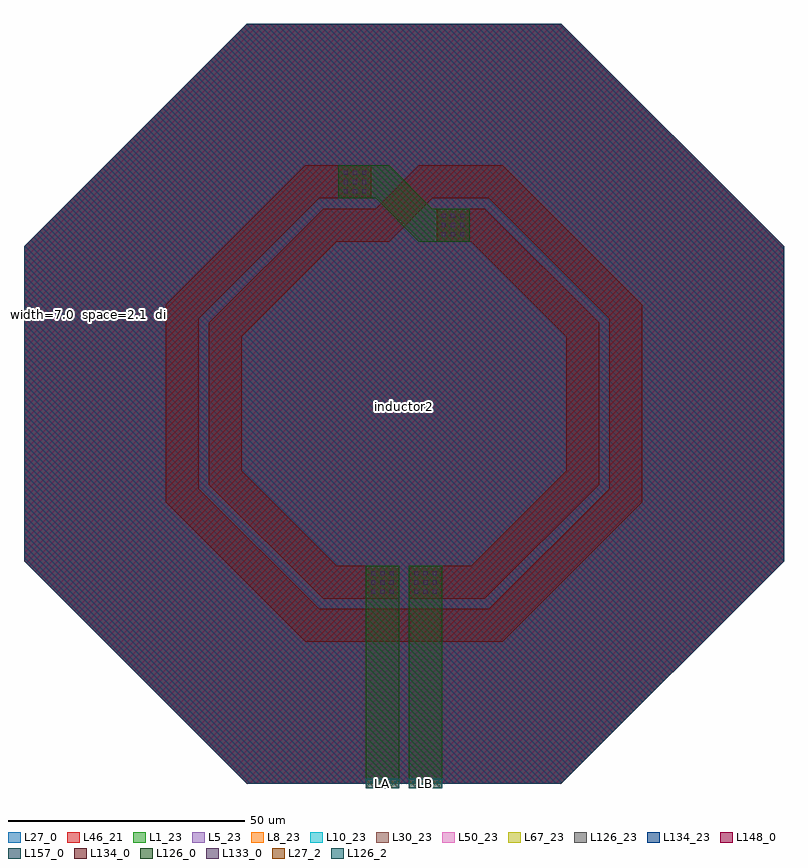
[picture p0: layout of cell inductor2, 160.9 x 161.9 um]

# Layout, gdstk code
import gdstk
lib = gdstk.Library(unit=1e-6, precision=1e-09)
def R(c, l, rs):  # rectangles x0, y0, x1, y1
    for r in rs: c.add(gdstk.rectangle(r[:2], r[2:], *l))
def A(c, l, x, y, w, h, nx, ny, dx, dy):  # array of equal rectangles
    R(c, l, [(x+i*dx, y+j*dy, x+i*dx+w, y+j*dy+h) for i in range(nx) for j in range(ny)])
def P(c, l, *ps):  # polygons
    for p in ps: c.add(gdstk.Polygon(p, *l))
L1_23 = (1, 23)
L5_23 = (5, 23)
L8_23 = (8, 23)
L10_23 = (10, 23)
L27_0 = (27, 0)
L27_2 = (27, 2)
L30_23 = (30, 23)
L46_21 = (46, 21)
L50_23 = (50, 23)
L67_23 = (67, 23)
L126_0 = (126, 0)
L126_2 = (126, 2)
L126_23 = (126, 23)
L133_0 = (133, 0)
L134_0 = (134, 0)
L134_23 = (134, 23)
L148_0 = (148, 0)
L157_0 = (157, 0)

inductor2 = lib.new_cell('inductor2')
P(inductor2, L1_23, [(-33.32,0),(-80.45,47.13),(-80.45,113.77),(-33.32,160.9),(33.32,160.9),(80.45,113.77),(80.45,47.13),(33.32,0)])
P(inductor2, L5_23, [(-33.32,0),(-80.45,47.13),(-80.45,113.77),(-33.32,160.9),(33.32,160.9),(80.45,113.77),(80.45,47.13),(33.32,0)])
P(inductor2, L8_23, [(-33.32,0),(-80.45,47.13),(-80.45,113.77),(-33.32,160.9),(33.32,160.9),(80.45,113.77),(80.45,47.13),(33.32,0)])
P(inductor2, L10_23, [(-33.32,0),(-80.45,47.13),(-80.45,113.77),(-33.32,160.9),(33.32,160.9),(80.45,113.77),(80.45,47.13),(33.32,0)])
P(inductor2, L27_0, [(-33.32,0),(-80.45,47.13),(-80.45,113.77),(-33.32,160.9),(33.32,160.9),(80.45,113.77),(80.45,47.13),(33.32,0)])
R(inductor2, L27_2, [(-8.05,-1,-1.05,1), (1.05,-1,8.05,1)])
P(inductor2, L30_23, [(-33.32,0),(-80.45,47.13),(-80.45,113.77),(-33.32,160.9),(33.32,160.9),(80.45,113.77),(80.45,47.13),(33.32,0)])
P(inductor2, L46_21, [(-33.32,0),(-80.45,47.13),(-80.45,113.77),(-33.32,160.9),(33.32,160.9),(80.45,113.77),(80.45,47.13),(33.32,0)])
P(inductor2, L50_23, [(-33.32,0),(-80.45,47.13),(-80.45,113.77),(-33.32,160.9),(33.32,160.9),(80.45,113.77),(80.45,47.13),(33.32,0)])
P(inductor2, L67_23, [(-33.32,0),(-80.45,47.13),(-80.45,113.77),(-33.32,160.9),(33.32,160.9),(80.45,113.77),(80.45,47.13),(33.32,0)])
P(inductor2, L126_0, [(3.125,114.76),(-5.995,123.88),(-13.885,123.88),(-13.885,130.88),(-3.125,130.88),(5.995,121.76),(13.885,121.76),(13.885,114.76)])
R(inductor2, L126_2, [(-8.05,-1,-1.05,1), (1.05,-1,8.05,1)])
P(inductor2, L126_23, [(-33.32,0),(-80.45,47.13),(-80.45,113.77),(-33.32,160.9),(33.32,160.9),(80.45,113.77),(80.45,47.13),(33.32,0)])
A(inductor2, L133_0, -6.96, 40.19, 0.9, 0.9, 3, 3, 1.96, 1.96)
A(inductor2, L133_0, 2.14, 40.19, 0.9, 0.9, 3, 3, 1.96, 1.96)
A(inductor2, L133_0, 7.975, 115.85, 0.9, 0.9, 3, 3, 1.96, 1.96)
A(inductor2, L133_0, -12.795, 124.95, 0.9, 0.9, 3, 3, 1.96, 1.96)
R(inductor2, L134_0, [(-6.885,30,6.885,37)])
P(inductor2, L134_0, [(1.05,39.1),(1.05,46.1),(14.215,46.1),(34.33,66.215),(34.33,94.645),(14.215,114.76),(6.885,114.76),(6.885,121.76),(17.125,121.76),(41.33,97.555),(41.33,63.305),(17.125,39.1)],
  [(-17.125,39.1),(-41.33,63.305),(-41.33,97.555),(-17.125,121.76),(-6.885,121.76),(-6.885,114.76),(-14.215,114.76),(-34.33,94.645),(-34.33,66.215),(-14.215,46.1),(-1.05,46.1),(-1.05,39.1)],
  [(-6.885,114.76),(-6.885,121.76),(-5.995,121.76),(3.125,130.88),(6.885,130.88),(6.885,123.88),(6.025,123.88),(-3.095,114.76)],
  [(6.885,30),(6.885,37),(17.99,37),(43.44,62.45),(43.44,98.43),(17.99,123.88),(6.885,123.88),(6.885,130.88),(20.9,130.88),(50.44,101.34),(50.44,59.54),(20.9,30)],
  [(-20.9,30),(-50.44,59.54),(-50.44,101.34),(-20.9,130.88),(-6.885,130.88),(-6.885,123.88),(-17.99,123.88),(-43.44,98.43),(-43.44,62.45),(-17.99,37),(-6.885,37),(-6.885,30)])
P(inductor2, L134_23, [(-33.32,0),(-80.45,47.13),(-80.45,113.77),(-33.32,160.9),(33.32,160.9),(80.45,113.77),(80.45,47.13),(33.32,0)])
P(inductor2, L148_0, [(-33.32,0),(-80.45,47.13),(-80.45,113.77),(-33.32,160.9),(33.32,160.9),(80.45,113.77),(80.45,47.13),(33.32,0)])
P(inductor2, L157_0, [(-33.32,0),(-80.45,47.13),(-80.45,113.77),(-33.32,160.9),(33.32,160.9),(80.45,113.77),(80.45,47.13),(33.32,0)])
inductor2.add(gdstk.FlexPath([(4.55,-1),(4.55,46.1)], 7, ends="flush", simple_path=True, layer=126, datatype=0))  # L126_0
inductor2.add(gdstk.FlexPath([(-4.55,-1),(-4.55,46.1)], 7, ends="flush", simple_path=True, layer=126, datatype=0))  # L126_0
inductor2.add(gdstk.Label('LB', (4.55,0), layer=27, texttype=25))
inductor2.add(gdstk.Label('LA', (-4.55,0), layer=27, texttype=25))
inductor2.add(gdstk.Label('inductor2', (0,79.822), layer=63, texttype=0))
inductor2.add(gdstk.Label('  width=7.0\n  space=2.1\n  diameter=68.66\n  turns=2', (-80.45,99.345), layer=63, texttype=0))

lib.write_gds('inductor2.gds')
